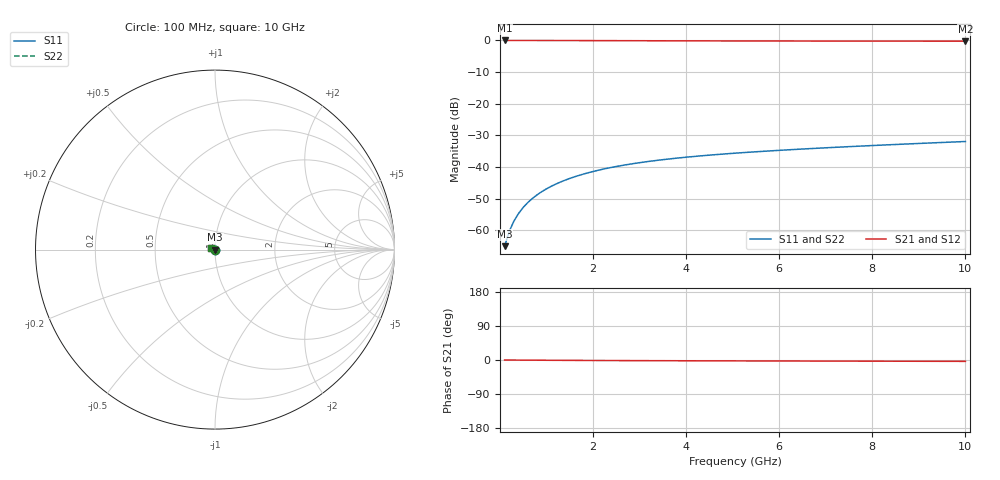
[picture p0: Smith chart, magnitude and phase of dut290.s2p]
! Touchstone file exported from HFSS 2024.1.0
!  File:  C:/UserFiles/LocalFiles/RDL_TSV_Batchsim/temp_TSV1_290_1779394143.aedt
!  Generated:  04:17:47 AM May 22, 2026
!  Design:  TSV1
!  Project:  temp_TSV1_290_1779394143
!  Setup:  Setup1
!  Solution:  Sweep
! Variables:
!  dtsv = 5.62um
!  hbump = 3um
!  htsv = 50.93um
!  lrdl = 252.1521522um
!  p = 40
!  p1 = 42.8um
!  t = 500um
!  trdl = 3um
!  wrdl = 24.89489489um
# GHz S MA R 50.000000
! Terminal data exported
! Port[1] = TSV22_T1
! Port[2] = TSV22_T2
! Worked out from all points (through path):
!   100 points, 100 MHz to 10 GHz, reference 50 ohm
!   highest |S21| = 0.00 dB at 100 MHz (marker M1); lowest = -0.2 dB at 10 GHz (marker M2)
!   lowest |S11| = -65.0 dB at 100 MHz (marker M3), VSWR 1.00, Z = 50 - j0.0465 ohm
!   |S11| at or under -10 dB: start of sweep to end of sweep
!   |S22| runs from -65.0 to -31.9 dB; largest |S21 - S12| = 4.1e-15
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0.1  0.0005655 -55.3  0.9996 -0.1  0.9996 -0.1  0.0005655 -55.3
! Gamma 0 0 0 0
! Port Impedance 50 0 50 0
0.2  0.0009684 -74.1  0.9996 -0.1  0.9996 -0.1  0.0009684 -74.1
0.3  0.001409 -82.9  0.9995 -0.2  0.9995 -0.2  0.001409 -82.9
0.4  0.00186 -88.3  0.9994 -0.3  0.9994 -0.3  0.00186 -88.3
0.5  0.002315 -92.4  0.9992 -0.4  0.9992 -0.4  0.002315 -92.4
0.6  0.002768 -95.7  0.999 -0.4  0.999 -0.4  0.002768 -95.7
0.7  0.003219 -98.6  0.9988 -0.5  0.9988 -0.5  0.003219 -98.6
0.8  0.003666 -101.3  0.9985 -0.6  0.9985 -0.6  0.003666 -101.3
0.9  0.004108 -103.8  0.9983 -0.6  0.9983 -0.6  0.004108 -103.8
1.1  0.004975 -108.4  0.9976 -0.7  0.9976 -0.7  0.004975 -108.4
1.4  0.006227 -114.8  0.9966 -0.9  0.9966 -0.9  0.006227 -114.8
1.6  0.007026 -118.8  0.9958 -1.0  0.9958 -1.0  0.007026 -118.8
1.8  0.007794 -122.6  0.995 -1.1  0.995 -1.1  0.007794 -122.6
2.1  0.008887 -128.1  0.9937 -1.3  0.9937 -1.3  0.008887 -128.1
2.5  0.01024 -134.9  0.9919 -1.5  0.9919 -1.5  0.01024 -134.9
2.9  0.01147 -141.2  0.9902 -1.7  0.9902 -1.7  0.01147 -141.2
3.4  0.01286 -148.6  0.988 -1.8  0.988 -1.8  0.01286 -148.6
4.2  0.0148 -159.0  0.985 -2.1  0.985 -2.1  0.0148 -159.0
5.1  0.0167 -169.1  0.9822 -2.4  0.9822 -2.4  0.0167 -169.1
6.7  0.01967 176.2  0.9785 -2.8  0.9785 -2.8  0.01967 176.2
8.4  0.02261 164.1  0.9759 -3.2  0.9759 -3.2  0.02261 164.1
10  0.02539 154.9  0.9741 -3.6  0.9741 -3.6  0.02539 154.9
